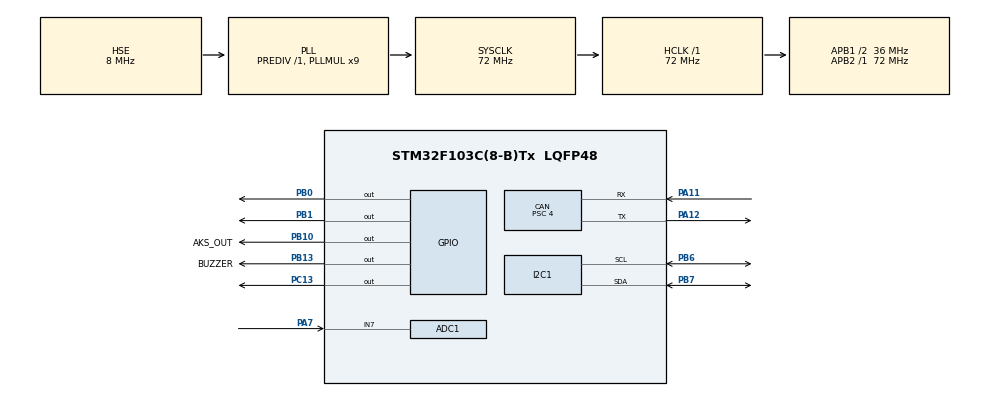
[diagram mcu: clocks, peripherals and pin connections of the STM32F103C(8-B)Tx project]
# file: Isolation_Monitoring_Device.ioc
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ADC1.Channel-0\#ChannelRegularConversion=ADC_CHANNEL_7
ADC1.NbrOfConversionFlag=1
ADC1.Rank-0\#ChannelRegularConversion=1
ADC1.SamplingTime-0\#ChannelRegularConversion=ADC_SAMPLETIME_1CYCLE_5
ADC1.master=1
CAN.BS1=CAN_BS1_15TQ
CAN.BS2=CAN_BS2_2TQ
CAN.CalculateBaudRate=500000
CAN.CalculateTimeBit=2000
CAN.CalculateTimeQuantum=111.11111111111111
CAN.Prescaler=4
Dma.ADC1.0.Direction=DMA_PERIPH_TO_MEMORY
Dma.ADC1.0.Instance=DMA1_Channel1
Dma.ADC1.0.MemDataAlignment=DMA_MDATAALIGN_HALFWORD
Dma.ADC1.0.MemInc=DMA_MINC_ENABLE
Dma.ADC1.0.Mode=DMA_NORMAL
Dma.ADC1.0.PeriphDataAlignment=DMA_PDATAALIGN_HALFWORD
Dma.ADC1.0.PeriphInc=DMA_PINC_DISABLE
Dma.ADC1.0.Priority=DMA_PRIORITY_HIGH
Dma.Request0=ADC1
Mcu.Family=STM32F1
Mcu.Name=STM32F103C(8-B)Tx
Mcu.Package=LQFP48
NVIC.DMA1_Channel1_IRQn=true\:0\:0\:false\:false\:true\:false\:true\:true
NVIC.PriorityGroup=NVIC_PRIORITYGROUP_4
PA11.Mode=CAN_Activate
PA11.Signal=CAN_RX
PA12.Mode=CAN_Activate
PA12.Signal=CAN_TX
PA13.Mode=Serial_Wire
PA13.Signal=SYS_JTMS-SWDIO
PA14.Mode=Serial_Wire
PA14.Signal=SYS_JTCK-SWCLK
PA7.Signal=ADCx_IN7
PB0.Signal=GPIO_Output
PB1.Signal=GPIO_Output
PB10.GPIO_Label=AKS_OUT
PB10.Signal=GPIO_Output
PB13.GPIO_Label=BUZZER
PB13.Signal=GPIO_Output
PB6.Mode=I2C
PB6.Signal=I2C1_SCL
PB7.Mode=I2C
PB7.Signal=I2C1_SDA
PC13-TAMPER-RTC.Signal=GPIO_Output
PD0-OSC_IN.Mode=HSE-External-Oscillator
PD0-OSC_IN.Signal=RCC_OSC_IN
PD1-OSC_OUT.Mode=HSE-External-Oscillator
PD1-OSC_OUT.Signal=RCC_OSC_OUT
ProjectManager.HeapSize=0x200
ProjectManager.StackSize=0x400
ProjectManager.TargetToolchain=STM32CubeIDE
RCC.ADCPresc=RCC_ADCPCLK2_DIV6
RCC.AHBFreq_Value=72000000
RCC.APB1CLKDivider=RCC_HCLK_DIV2
RCC.APB1Freq_Value=36000000
RCC.APB1TimFreq_Value=72000000
RCC.APB2Freq_Value=72000000
RCC.APB2TimFreq_Value=72000000
RCC.HCLKFreq_Value=72000000
RCC.PLLMUL=RCC_PLL_MUL9
RCC.PLLSourceVirtual=RCC_PLLSOURCE_HSE
RCC.SYSCLKFreq_VALUE=72000000
RCC.SYSCLKSource=RCC_SYSCLKSOURCE_PLLCLK
RCC.USBFreq_Value=72000000
SH.ADCx_IN7.0=ADC1_IN7,IN7
board=custom

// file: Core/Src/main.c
/* USER CODE BEGIN Header */
/**
  ******************************************************************************
  * @file           : main.c
  * @brief          : Main program body
  ******************************************************************************
  * @attention
  *
  * Copyright (c) 2025 STMicroelectronics.
  * All rights reserved.
  *
  * This software is licensed under terms that can be found in the LICENSE file
  * in the root directory of this software component.
  * If no LICENSE file comes with this software, it is provided AS-IS.
  *
  ******************************************************************************
  */
/* USER CODE END Header */
#include "main.h"

/* USER CODE BEGIN Includes */
#include <string.h>
#include "ssd1306.h"      // Ekran kütüphanesi
#include "ssd1306_fonts.h" // Yazı tipleri
#include <stdio.h>        // sprintf fonksiyonu için
#include <math.h>

/* USER CODE END Includes */

ADC_HandleTypeDef hadc1;
DMA_HandleTypeDef hdma_adc1;

CAN_HandleTypeDef hcan;

I2C_HandleTypeDef hi2c1;

/* USER CODE BEGIN PV */

const float ADC_MAX_VALUE = 4095.0f; // STM32F103C8T6'nin 12-bit çözünürlüğü (2^12 - 1)
const float VREF = 3.3f;            // besleme gerilimi

const float R_TOP = 1410000.0f; 	//R1+R2+R3 veya R4+R5+R6 (Kol direnci)
const float R_BOTTOM = 100000.0f;	//R7 = 100k
const float Rp = R_TOP + R_BOTTOM ; //Şasiye bağlanan eşdeğer ölçüm direnci

char lcd_buffer[20];	// Ekrana yazı yazdırmak için geçici hafıza

float insulation_resistance = 0.0f;

// --- Non-blocking ölçüm state machine ---
typedef enum {
    ISO_STATE_STARTUP_BEEP, // Açılış sesi (non-blocking bekleme)
    ISO_STATE_SELECT_HVP,   // HV+ hattını seç
    ISO_STATE_READ_HVP,     // Settle süresini bekle ve HV+ oku
    ISO_STATE_SELECT_HVN,   // HV- hattını seç
    ISO_STATE_READ_HVN,     // Settle süresini bekle ve HV- oku
    ISO_STATE_PROCESS,      // Hesapla, ekrana yaz, CAN gönder
    ISO_STATE_IDLE          // Bir sonraki döngüye kadar bekle
} IsoState_t;

static IsoState_t iso_state = ISO_STATE_STARTUP_BEEP;
static uint32_t   state_timer = 0;
#define STARTUP_BEEP_MS 200u  // Açılış buzzer süresi
#define ADC_SETTLE_MS   50u   // Röle/mux anahtarlaması sonrası bekleme süresi
#define CYCLE_IDLE_MS   50u   // Döngüler arası bekleme (CAN yükünü sınırlamak için)
#define HV_PRESENT_THRESHOLD_V 10.0f // Bu değerin altı: HV yok sayılır
#define SHORT_CIRCUIT_RATIO    0.2f  // current_v_system'in bu oranını aşan fark: fiziksel arıza
#define MIN_V_DIFF_V           0.05f // Direnç hesap. bölen alt sınırı (aşırı büyük değer önleme)

float v_plus;
float v_minus;

#define BATTERY_MAX_VOLTAGE   72.0f
#define ISO_LIMIT_OHM_PER_V   100.0f //Volt başına düşen minimum izolasyon direnci

// Rlimit = Vbat,max × 100 Ω/V
#define ISO_RESISTANCE_LIMIT  (BATTERY_MAX_VOLTAGE * ISO_LIMIT_OHM_PER_V) // 8400 Ω

/* USER CODE END PV */

void SystemClock_Config(void);
static void MX_GPIO_Init(void);
static void MX_DMA_Init(void);
static void MX_ADC1_Init(void);
static void MX_I2C1_Init(void);
static void MX_CAN_Init(void);
/* USER CODE BEGIN PFP */
float read_and_calculate_voltage(ADC_HandleTypeDef* hadc);

/* USER CODE END PFP */

int main(void)
{

  /* USER CODE BEGIN 1 */

	CAN_TxHeaderTypeDef TxHeader = {0}; // CAN Mesaj Başlığı (Kime gidecek, kaç bayt vs.)
	uint32_t TxMailbox;           // Gönderim için posta kutusu
	uint8_t TxData[8];            // Gönderilecek 8 baytlık veri paketi

  /* USER CODE END 1 */

  /* MCU Configuration--------------------------------------------------------*/

  /* Reset of all peripherals, Initializes the Flash interface and the Systick. */
  HAL_Init();

  /* Configure the system clock */
  SystemClock_Config();

  /* Initialize all configured peripherals */
  MX_GPIO_Init();
  MX_DMA_Init();
  MX_ADC1_Init();
  MX_I2C1_Init();
  MX_CAN_Init();
  /* USER CODE BEGIN 2 */

  CAN_FilterTypeDef sFilterConfig;

    sFilterConfig.FilterBank = 0;
    sFilterConfig.FilterMode = CAN_FILTERMODE_IDMASK;
    sFilterConfig.FilterScale = CAN_FILTERSCALE_32BIT;
    sFilterConfig.FilterIdHigh = 0x0000;
    sFilterConfig.FilterIdLow = 0x0000;
    sFilterConfig.FilterMaskIdHigh = 0x0000;
    sFilterConfig.FilterMaskIdLow = 0x0000;
    sFilterConfig.FilterFIFOAssignment = CAN_RX_FIFO0;
    sFilterConfig.FilterActivation = ENABLE;
    sFilterConfig.SlaveStartFilterBank = 14;

    if (HAL_CAN_ConfigFilter(&hcan, &sFilterConfig) != HAL_OK)
    {
        Error_Handler();
    }

  ssd1306_Init(); // Ekranı donanımsal olarak başlat
  ssd1306_Fill(Black);
  ssd1306_UpdateScreen();

  // 2. CAN Modülünü Başlat (BU ÇOK ÖNEMLİ!)
    // Bunu yapmazsan while döngüsündeki CAN mesajları gitmez.
    if (HAL_CAN_Start(&hcan) != HAL_OK)
    {
        Error_Handler(); // Başlatılamazsa hata döngüsüne girsin
    }

    // 3. Açılış Sesi (Opsiyonel - "Cihaz Açıldı" Sesi)
    // ESKİ KOD: HAL_GPIO_WritePin(GPIOA, GPIO_PIN_3, 1);  <-- ARTIK BU YANLIŞ!
    // YENİ KOD:
    HAL_GPIO_WritePin(BUZZER_GPIO_Port, BUZZER_Pin, GPIO_PIN_SET); // Buzzer Öt
    state_timer = HAL_GetTick(); // STARTUP_BEEP state'i bunu okuyup 200ms sonra söndürecek

  /* USER CODE END 2 */

  /* Infinite loop */
  while (1)
  {

    /* USER CODE BEGIN 3 */

	switch (iso_state)
	{
	case ISO_STATE_STARTUP_BEEP:
		if (HAL_GetTick() - state_timer >= STARTUP_BEEP_MS)
		{
			HAL_GPIO_WritePin(BUZZER_GPIO_Port, BUZZER_Pin, GPIO_PIN_RESET); // Buzzer Sus
			iso_state = ISO_STATE_SELECT_HVP;
		}
		break;

	case ISO_STATE_SELECT_HVP:
		// 1. HV+ Testi (PB0 aktif)
		HAL_GPIO_WritePin(GPIOB, GPIO_PIN_0, GPIO_PIN_SET);
		state_timer = HAL_GetTick();
		iso_state = ISO_STATE_READ_HVP;
		break;

	case ISO_STATE_READ_HVP:
		if (HAL_GetTick() - state_timer >= ADC_SETTLE_MS)
		{
			v_plus = read_and_calculate_voltage(&hadc1);
			HAL_GPIO_WritePin(GPIOB, GPIO_PIN_0, GPIO_PIN_RESET);
			iso_state = ISO_STATE_SELECT_HVN;
		}
		break;

	case ISO_STATE_SELECT_HVN:
		// 2. HV- Testi (PB1 aktif)
		HAL_GPIO_WritePin(GPIOB, GPIO_PIN_1, GPIO_PIN_SET);
		state_timer = HAL_GetTick();
		iso_state = ISO_STATE_READ_HVN;
		break;

	case ISO_STATE_READ_HVN:
		if (HAL_GetTick() - state_timer >= ADC_SETTLE_MS)
		{
			v_minus = read_and_calculate_voltage(&hadc1);
			HAL_GPIO_WritePin(GPIOB, GPIO_PIN_1, GPIO_PIN_RESET);
			iso_state = ISO_STATE_PROCESS;
		}
		break;

	case ISO_STATE_PROCESS:
	{
		float current_v_system = v_plus + v_minus;

		// 3. İzolasyon Direnci Hesaplama
		//Tam formül için v_plus ve v_minus farkına bakılır.
		float v_diff = fabsf(v_plus - v_minus);

		/* Kısa devre / sert kaçak durumunda insulation_resistance hesaplanmaz */
		if (current_v_system < HV_PRESENT_THRESHOLD_V)
		{
			/* HV yok -> ölçüm geçersiz */
			insulation_resistance = 0.0f;
		}
		else if (v_diff > (SHORT_CIRCUIT_RATIO * current_v_system))
		{
			/* Fiziksel kısa devre / ciddi dengesizlik */
			insulation_resistance = 0.0f;
		}
		else
		{
			/* Normal durumda izolasyon direnci hesaplanır */
			if (v_diff < MIN_V_DIFF_V)
				v_diff = MIN_V_DIFF_V;

			insulation_resistance = Rp * ((current_v_system / v_diff) - 1.0f);
		}

		// V+ Değerini Yaz
		ssd1306_SetCursor(2, 0);
		sprintf(lcd_buffer, "HV+ : %.1f V", v_plus);
		ssd1306_WriteString(lcd_buffer, Font_7x10, White);

		// V- Değerini Yaz
		ssd1306_SetCursor(2, 12);
		sprintf(lcd_buffer, "HV- : %.1f V", v_minus);
		ssd1306_WriteString(lcd_buffer, Font_7x10, White);

		// İzolasyon Durumunu Yaz
		ssd1306_SetCursor(2, 24);
		if (insulation_resistance == 0.0f)
		{
			sprintf(lcd_buffer, "Res: SHORT");
		}
		else if (insulation_resistance >= 1000000.0f)
			sprintf(lcd_buffer, "Res: %.2f MOhm", insulation_resistance / 1000000.0f);
		else
			sprintf(lcd_buffer, "Res: %.1f kOhm", insulation_resistance / 1000.0f);

		ssd1306_WriteString(lcd_buffer, Font_7x10, White);

		// 4. Buzzer Kontrolü
		/* 1- Fiziksel kısa devre / ciddi dengesizlik */
		if (current_v_system > HV_PRESENT_THRESHOLD_V && v_diff > (SHORT_CIRCUIT_RATIO * current_v_system))
		{
			HAL_GPIO_WritePin(GPIOA, GPIO_PIN_3, GPIO_PIN_SET);
		}
		/* 2- İzolasyon direnci hatası */
		else if (insulation_resistance < ISO_RESISTANCE_LIMIT)
		{
			HAL_GPIO_WritePin(BUZZER_GPIO_Port, BUZZER_Pin, GPIO_PIN_SET);
			HAL_GPIO_WritePin(AKS_OUT_GPIO_Port, AKS_OUT_Pin, GPIO_PIN_SET);
		}
		else
		{
			HAL_GPIO_WritePin(BUZZER_GPIO_Port, BUZZER_Pin, GPIO_PIN_RESET);
			HAL_GPIO_WritePin(AKS_OUT_GPIO_Port, AKS_OUT_Pin, GPIO_PIN_RESET);
		}

		// ==========================================
		// CAN BUS VERİ GÖNDERİMİ
		// ==========================================
		TxHeader.RTR = CAN_RTR_DATA;
		TxHeader.IDE = CAN_ID_STD;
		TxHeader.TransmitGlobalTime = DISABLE;
		TxHeader.StdId = 0x101;
		TxHeader.DLC = 5;                // 4 Byte Direnç + 1 Byte Durum

		memcpy(TxData, (uint8_t*)&insulation_resistance, 4);

		uint8_t status_code = 0;         // 0: Normal, 1: Düşük Direnç, 2: Kısa Devre/Hata
		if (insulation_resistance == 0.0f) status_code = 2;
		else if (insulation_resistance < ISO_RESISTANCE_LIMIT) status_code = 1;
		else status_code = 0;
		TxData[4] = status_code;

		ssd1306_SetCursor(2, 52);
		if (HAL_CAN_GetTxMailboxesFreeLevel(&hcan) > 0)
		{
			if (HAL_CAN_AddTxMessage(&hcan, &TxHeader, TxData, &TxMailbox) != HAL_OK)
			{
				ssd1306_WriteString("CAN: ERROR ", Font_7x10, White);
				HAL_GPIO_WritePin(GPIOC, GPIO_PIN_13, GPIO_PIN_SET);
			}
			else
			{
				ssd1306_WriteString("CAN: OK    ", Font_7x10, White);
				HAL_GPIO_WritePin(GPIOC, GPIO_PIN_13, GPIO_PIN_RESET);
			}
		}
		else
		{
			ssd1306_WriteString("CAN: BUSY  ", Font_7x10, White);
		}
		ssd1306_UpdateScreen();

		state_timer = HAL_GetTick();
		iso_state = ISO_STATE_IDLE;
		break;
	}

	case ISO_STATE_IDLE:
		if (HAL_GetTick() - state_timer >= CYCLE_IDLE_MS)
		{
			iso_state = ISO_STATE_SELECT_HVP;
		}
		break;
	}

  }
  /* USER CODE END 3 */
}

void SystemClock_Config(void)
{
  RCC_OscInitTypeDef RCC_OscInitStruct = {0};
  RCC_ClkInitTypeDef RCC_ClkInitStruct = {0};
  RCC_PeriphCLKInitTypeDef PeriphClkInit = {0};

  /** Initializes the RCC Oscillators according to the specified parameters
  * in the RCC_OscInitTypeDef structure.
  */
  RCC_OscInitStruct.OscillatorType = RCC_OSCILLATORTYPE_HSE;
  RCC_OscInitStruct.HSEState = RCC_HSE_ON;
  RCC_OscInitStruct.HSEPredivValue = RCC_HSE_PREDIV_DIV1;
  RCC_OscInitStruct.HSIState = RCC_HSI_ON;
  RCC_OscInitStruct.PLL.PLLState = RCC_PLL_ON;
  RCC_OscInitStruct.PLL.PLLSource = RCC_PLLSOURCE_HSE;
  RCC_OscInitStruct.PLL.PLLMUL = RCC_PLL_MUL9;
  if (HAL_RCC_OscConfig(&RCC_OscInitStruct) != HAL_OK)
  {
    Error_Handler();
  }

  /** Initializes the CPU, AHB and APB buses clocks
  */
  RCC_ClkInitStruct.ClockType = RCC_CLOCKTYPE_HCLK|RCC_CLOCKTYPE_SYSCLK
                              |RCC_CLOCKTYPE_PCLK1|RCC_CLOCKTYPE_PCLK2;
  RCC_ClkInitStruct.SYSCLKSource = RCC_SYSCLKSOURCE_PLLCLK;
  RCC_ClkInitStruct.AHBCLKDivider = RCC_SYSCLK_DIV1;
  RCC_ClkInitStruct.APB1CLKDivider = RCC_HCLK_DIV2;
  RCC_ClkInitStruct.APB2CLKDivider = RCC_HCLK_DIV1;

  if (HAL_RCC_ClockConfig(&RCC_ClkInitStruct, FLASH_LATENCY_2) != HAL_OK)
  {
    Error_Handler();
  }
  PeriphClkInit.PeriphClockSelection = RCC_PERIPHCLK_ADC;
  PeriphClkInit.AdcClockSelection = RCC_ADCPCLK2_DIV6;
  if (HAL_RCCEx_PeriphCLKConfig(&PeriphClkInit) != HAL_OK)
  {
    Error_Handler();
  }
}

static void MX_ADC1_Init(void)
{

  ADC_ChannelConfTypeDef sConfig = {0};

  /** Common config
  */
  hadc1.Instance = ADC1;
  hadc1.Init.ScanConvMode = ADC_SCAN_DISABLE;
  hadc1.Init.ContinuousConvMode = DISABLE;
  hadc1.Init.DiscontinuousConvMode = DISABLE;
  hadc1.Init.ExternalTrigConv = ADC_SOFTWARE_START;
  hadc1.Init.DataAlign = ADC_DATAALIGN_RIGHT;
  hadc1.Init.NbrOfConversion = 1;
  if (HAL_ADC_Init(&hadc1) != HAL_OK)
  {
    Error_Handler();
  }

  /** Configure Regular Channel
  */
  sConfig.Channel = ADC_CHANNEL_7;
  sConfig.Rank = ADC_REGULAR_RANK_1;
  sConfig.SamplingTime = ADC_SAMPLETIME_1CYCLE_5;
  if (HAL_ADC_ConfigChannel(&hadc1, &sConfig) != HAL_OK)
  {
    Error_Handler();
  }

}

static void MX_CAN_Init(void)
{

  hcan.Instance = CAN1;
  hcan.Init.Prescaler = 4;
  hcan.Init.Mode = CAN_MODE_NORMAL;
  hcan.Init.SyncJumpWidth = CAN_SJW_1TQ;
  hcan.Init.TimeSeg1 = CAN_BS1_15TQ;
  hcan.Init.TimeSeg2 = CAN_BS2_2TQ;
  hcan.Init.TimeTriggeredMode = DISABLE;
  hcan.Init.AutoBusOff = DISABLE;
  hcan.Init.AutoWakeUp = DISABLE;
  hcan.Init.AutoRetransmission = DISABLE;
  hcan.Init.ReceiveFifoLocked = DISABLE;
  hcan.Init.TransmitFifoPriority = DISABLE;
  if (HAL_CAN_Init(&hcan) != HAL_OK)
  {
    Error_Handler();
  }

}

static void MX_I2C1_Init(void)
{

  hi2c1.Instance = I2C1;
  hi2c1.Init.ClockSpeed = 100000;
  hi2c1.Init.DutyCycle = I2C_DUTYCYCLE_2;
  hi2c1.Init.OwnAddress1 = 0;
  hi2c1.Init.AddressingMode = I2C_ADDRESSINGMODE_7BIT;
  hi2c1.Init.DualAddressMode = I2C_DUALADDRESS_DISABLE;
  hi2c1.Init.OwnAddress2 = 0;
  hi2c1.Init.GeneralCallMode = I2C_GENERALCALL_DISABLE;
  hi2c1.Init.NoStretchMode = I2C_NOSTRETCH_DISABLE;
  if (HAL_I2C_Init(&hi2c1) != HAL_OK)
  {
    Error_Handler();
  }

}

static void MX_DMA_Init(void)
{

  /* DMA controller clock enable */
  __HAL_RCC_DMA1_CLK_ENABLE();

  /* DMA interrupt init */
  /* DMA1_Channel1_IRQn interrupt configuration */
  HAL_NVIC_SetPriority(DMA1_Channel1_IRQn, 0, 0);
  HAL_NVIC_EnableIRQ(DMA1_Channel1_IRQn);

}

static void MX_GPIO_Init(void)
{
  GPIO_InitTypeDef GPIO_InitStruct = {0};

  /* GPIO Ports Clock Enable */
  __HAL_RCC_GPIOC_CLK_ENABLE();
  __HAL_RCC_GPIOD_CLK_ENABLE();
  __HAL_RCC_GPIOA_CLK_ENABLE();
  __HAL_RCC_GPIOB_CLK_ENABLE();

  /*Configure GPIO pin Output Level */
  HAL_GPIO_WritePin(GPIOC, GPIO_PIN_13, GPIO_PIN_RESET);

  /*Configure GPIO pin Output Level */
  HAL_GPIO_WritePin(GPIOB, GPIO_PIN_0|GPIO_PIN_1|AKS_OUT_Pin|BUZZER_Pin, GPIO_PIN_RESET);

  /*Configure GPIO pin : PC13 */
  GPIO_InitStruct.Pin = GPIO_PIN_13;
  GPIO_InitStruct.Mode = GPIO_MODE_OUTPUT_PP;
  GPIO_InitStruct.Pull = GPIO_NOPULL;
  GPIO_InitStruct.Speed = GPIO_SPEED_FREQ_LOW;
  HAL_GPIO_Init(GPIOC, &GPIO_InitStruct);

  /*Configure GPIO pins : PB0 PB1 AKS_OUT_Pin BUZZER_Pin */
  GPIO_InitStruct.Pin = GPIO_PIN_0|GPIO_PIN_1|AKS_OUT_Pin|BUZZER_Pin;
  GPIO_InitStruct.Mode = GPIO_MODE_OUTPUT_PP;
  GPIO_InitStruct.Pull = GPIO_NOPULL;
  GPIO_InitStruct.Speed = GPIO_SPEED_FREQ_LOW;
  HAL_GPIO_Init(GPIOB, &GPIO_InitStruct);

}

/* USER CODE BEGIN 4 */
//ADC OKUMA FONKSIYONU

 float read_and_calculate_voltage(ADC_HandleTypeDef* h_adc) {
    uint32_t adc_raw_sum = 0;
    const int samples = 16; // 16 örnek alarak gürültüyü filtreleyelim

    for(int i = 0; i < samples; i++) {
        HAL_ADC_Start(h_adc);
        if(HAL_ADC_PollForConversion(h_adc, 10) == HAL_OK) {
            adc_raw_sum += HAL_ADC_GetValue(h_adc);
        }
        HAL_ADC_Stop(h_adc);
    }

    float adc_avg = (float)adc_raw_sum / (float)samples;

    // Pindeki voltajı bulur
    float Vout = (adc_avg / ADC_MAX_VALUE) * VREF;

    // Gerilim Bölme Oranı (Şemadaki R1+R2+R3 ve R7)
    float Ratio = (R_TOP + R_BOTTOM) / R_BOTTOM;

    return Vout * Ratio;
}

/* USER CODE END 4 */
void Error_Handler(void)
{
  /* USER CODE BEGIN Error_Handler_Debug */
  /* Güvenlik kritik cihaz: init hatasında sessizce kilitlenmek yerine
     buzzer ve AKS uyarı çıkışını aktif ederek arızayı bildir (fail-safe). */
  HAL_GPIO_WritePin(BUZZER_GPIO_Port, BUZZER_Pin, GPIO_PIN_SET);
  HAL_GPIO_WritePin(AKS_OUT_GPIO_Port, AKS_OUT_Pin, GPIO_PIN_SET);
  __disable_irq();
  while (1)
  {
  }
  /* USER CODE END Error_Handler_Debug */
}
